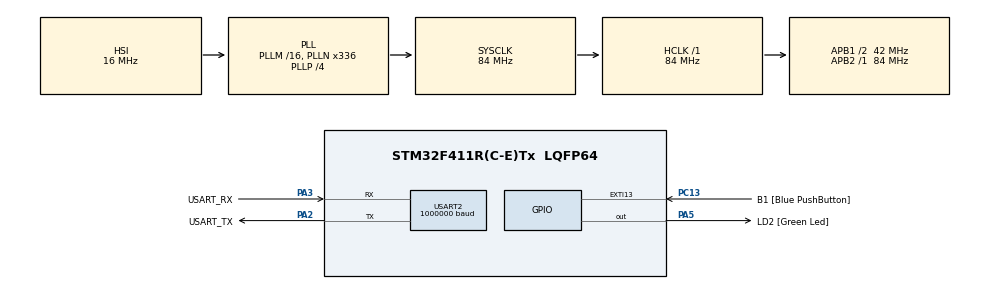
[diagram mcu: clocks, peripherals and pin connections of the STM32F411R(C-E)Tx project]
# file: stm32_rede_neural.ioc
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Mcu.Family=STM32F4
Mcu.Name=STM32F411R(C-E)Tx
Mcu.Package=LQFP64
NVIC.PriorityGroup=NVIC_PRIORITYGROUP_0
NVIC.USART2_IRQn=true\:0\:0\:false\:false\:true\:true\:true\:true
PA13.GPIO_Label=TMS
PA13.Mode=Serial_Wire
PA13.Signal=SYS_JTMS-SWDIO
PA14.GPIO_Label=TCK
PA14.Mode=Serial_Wire
PA14.Signal=SYS_JTCK-SWCLK
PA2.GPIO_Label=USART_TX
PA2.Mode=Asynchronous
PA2.Signal=USART2_TX
PA3.GPIO_Label=USART_RX
PA3.Mode=Asynchronous
PA3.Signal=USART2_RX
PA5.GPIO_Label=LD2 [Green Led]
PA5.Signal=GPIO_Output
PB3.GPIO_Label=SWO
PB3.Signal=SYS_JTDO-SWO
PC13-ANTI_TAMP.GPIO_Label=B1 [Blue PushButton]
PC13-ANTI_TAMP.GPIO_ModeDefaultEXTI=GPIO_MODE_IT_FALLING
PC13-ANTI_TAMP.Signal=GPXTI13
PC14-OSC32_IN.Mode=LSE-External-Oscillator
PC14-OSC32_IN.Signal=RCC_OSC32_IN
PC15-OSC32_OUT.Mode=LSE-External-Oscillator
PC15-OSC32_OUT.Signal=RCC_OSC32_OUT
PH0\ -\ OSC_IN.Mode=HSE-External-Clock-Source
PH0\ -\ OSC_IN.Signal=RCC_OSC_IN
PH1\ -\ OSC_OUT.Mode=HSE-External-Clock-Source
PH1\ -\ OSC_OUT.Signal=RCC_OSC_OUT
ProjectManager.HeapSize=0x200
ProjectManager.StackSize=0x400
ProjectManager.TargetToolchain=Makefile
RCC.48MHZClocksFreq_Value=84000000
RCC.AHBFreq_Value=84000000
RCC.APB1CLKDivider=RCC_HCLK_DIV2
RCC.APB1Freq_Value=42000000
RCC.APB1TimFreq_Value=84000000
RCC.APB2Freq_Value=84000000
RCC.APB2TimFreq_Value=84000000
RCC.CortexFreq_Value=84000000
RCC.FLatency-AdvancedSettings=FLASH_LATENCY_2
RCC.HCLKFreq_Value=84000000
RCC.HSE_VALUE=8000000
RCC.HSI_VALUE=16000000
RCC.PLLN=336
RCC.PLLP=RCC_PLLP_DIV4
RCC.SYSCLKFreq_VALUE=84000000
RCC.SYSCLKSource=RCC_SYSCLKSOURCE_PLLCLK
RCC.VCOOutputFreq_Value=336000000
TIM1.Period=10000
TIM1.Prescaler=8399
USART2.BaudRate=1000000
USART2.VirtualMode=VM_ASYNC
VP_TIM1_VS_ClockSourceINT.Mode=Internal
board=NUCLEO-F411RE

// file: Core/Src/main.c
/* USER CODE BEGIN Header */
/**
 ******************************************************************************
 * @file           : main.c
 * @brief          : Main program body
 ******************************************************************************
 * @attention
 *
 * Copyright (c) 2025 STMicroelectronics.
 * All rights reserved.
 *
 * This software is licensed under terms that can be found in the LICENSE file
 * in the root directory of this software component.
 * If no LICENSE file comes with this software, it is provided AS-IS.
 *
 ******************************************************************************
 */
/* USER CODE END Header */
#include "main.h"
#include "tim.h"
#include "usart.h"
#include "gpio.h"

/* USER CODE BEGIN Includes */
#include "rede_neural.h"
/* USER CODE END Includes */

void SystemClock_Config(void);

int main(void)
{

  /* MCU Configuration--------------------------------------------------------*/

  /* Reset of all peripherals, Initializes the Flash interface and the Systick. */
  HAL_Init();

  /* Configure the system clock */
  SystemClock_Config();

  /* Initialize all configured peripherals */
  MX_GPIO_Init();
  MX_USART2_UART_Init();
  MX_TIM1_Init();
  /* USER CODE BEGIN 2 */
  float input[64] = {0, 0, 12, 10, 0, 0, 0, 0, 0, 0, 14, 16, 16, 14, 0, 0, 0, 0,
                     13, 16, 15, 10, 1, 0, 0, 0, 11, 16, 16, 7, 0, 0, 0, 0, 0, 4,
                     7, 16, 7, 0, 0, 0, 0, 0, 4, 16, 9, 0, 0, 0, 5, 4, 12, 16};
  int resultado = rede_neural_predict(input, 64);
  printf("Resultado: %d\n", resultado);
  /* USER CODE END 2 */

  /* Infinite loop */
  /* USER CODE BEGIN WHILE */

  char rx_buff[64] = {0};
  char tx_buff[4] = {0};

  while (1)
  {
    // HAL_GPIO_WritePin(LD2_GPIO_Port, LD2_Pin, GPIO_PIN_SET);
    // HAL_Delay(100);
    // HAL_GPIO_WritePin(LD2_GPIO_Port, LD2_Pin, GPIO_PIN_RESET);
    // HAL_Delay(100);

    // HAL_UART_Transmit(&huart2, (uint8_t *)"Hello World\n", 13, 1000);
    // HAL_UART_Transmit(&huart1, tx_buff, 10, 1000);
    // HAL_UART_Transmit(&huart2, tx_buff, 10, 1000);

    if (HAL_UART_Receive(&huart2, (uint8_t *)rx_buff, 64, 1000) == HAL_OK)
    {
      HAL_GPIO_TogglePin(LD2_GPIO_Port, LD2_Pin);

      float input[64];
      for (int i = 0; i < 64; i++)
      {
        input[i] = (float)rx_buff[i];
      }

      int resultado = rede_neural_predict(input, 64);
      sprintf(tx_buff, "ok%d", resultado);
      HAL_UART_Transmit(&huart2, (uint8_t *)tx_buff, 3, 1000);
    }

    printf("Recebido: %s\n", rx_buff);

    // HAL_Delay(1000);

    /* USER CODE END WHILE */

  }
}

void SystemClock_Config(void)
{
  RCC_OscInitTypeDef RCC_OscInitStruct = {0};
  RCC_ClkInitTypeDef RCC_ClkInitStruct = {0};

  /** Configure the main internal regulator output voltage
   */
  __HAL_RCC_PWR_CLK_ENABLE();
  __HAL_PWR_VOLTAGESCALING_CONFIG(PWR_REGULATOR_VOLTAGE_SCALE1);

  /** Initializes the RCC Oscillators according to the specified parameters
   * in the RCC_OscInitTypeDef structure.
   */
  RCC_OscInitStruct.OscillatorType = RCC_OSCILLATORTYPE_HSI;
  RCC_OscInitStruct.HSIState = RCC_HSI_ON;
  RCC_OscInitStruct.HSICalibrationValue = RCC_HSICALIBRATION_DEFAULT;
  RCC_OscInitStruct.PLL.PLLState = RCC_PLL_ON;
  RCC_OscInitStruct.PLL.PLLSource = RCC_PLLSOURCE_HSI;
  RCC_OscInitStruct.PLL.PLLM = 16;
  RCC_OscInitStruct.PLL.PLLN = 336;
  RCC_OscInitStruct.PLL.PLLP = RCC_PLLP_DIV4;
  RCC_OscInitStruct.PLL.PLLQ = 4;
  if (HAL_RCC_OscConfig(&RCC_OscInitStruct) != HAL_OK)
  {
    Error_Handler();
  }

  /** Initializes the CPU, AHB and APB buses clocks
   */
  RCC_ClkInitStruct.ClockType = RCC_CLOCKTYPE_HCLK | RCC_CLOCKTYPE_SYSCLK | RCC_CLOCKTYPE_PCLK1 | RCC_CLOCKTYPE_PCLK2;
  RCC_ClkInitStruct.SYSCLKSource = RCC_SYSCLKSOURCE_PLLCLK;
  RCC_ClkInitStruct.AHBCLKDivider = RCC_SYSCLK_DIV1;
  RCC_ClkInitStruct.APB1CLKDivider = RCC_HCLK_DIV2;
  RCC_ClkInitStruct.APB2CLKDivider = RCC_HCLK_DIV1;

  if (HAL_RCC_ClockConfig(&RCC_ClkInitStruct, FLASH_LATENCY_2) != HAL_OK)
  {
    Error_Handler();
  }
}

void Error_Handler(void)
{
  __disable_irq();
  while (1)
  {
  }
}
